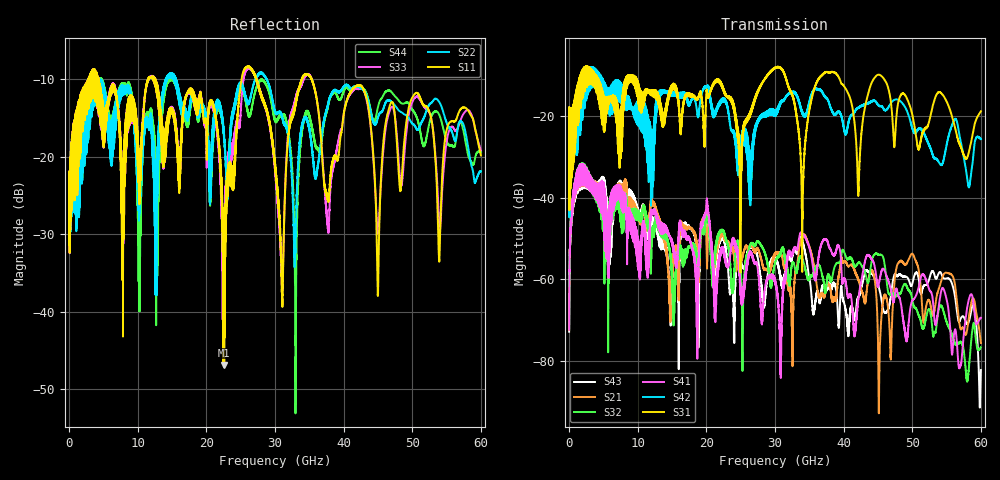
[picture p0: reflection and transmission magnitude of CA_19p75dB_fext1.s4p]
!4 port subset of full cascaded channels using these ports:1 37 2 38
# Hz S RI R 50
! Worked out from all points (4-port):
!   6000 points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, 10 MHz to 60 GHz, reference 50 ohm
!   strongest paths, dB at 10 MHz, 15.01 GHz, 30.01 GHz, 45.01 GHz, 60 GHz:
!     S31: -21.8, -12.6, -8.2, -10.0, -18.9
!     S42: -21.9, -14.4, -18.7, -17.3, -25.7
!     S41: -72.3, -51.4, -60.7, -61.8, -69.4
!     S32: -72.2, -60.7, -55.9, -54.0, -76.6
!     S21: -72.3, -60.0, -53.8, -74.9, -75.5
!     S43: -72.8, -60.9, -54.8, -61.0, -82.1
!   lowest |S11| = -46.9 dB at 22.61 GHz (marker M1), VSWR 1.01, Z = 49.7 + j0.289 ohm
!   |S11| at or under -10 dB: 4.291 GHz to 11.5 GHz (7.209 GHz wide, 91.3 % of centre); 12.57 GHz to 25.13 GHz (12.56 GHz wide, 66.6 % of centre); 35.33 GHz to end of sweep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
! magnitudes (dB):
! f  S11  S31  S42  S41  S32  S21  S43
! 10 MHz  -23.9  -21.8  -21.9  -72.3  -72.2  -72.3  -72.8
! 1.87 GHz  -15.2  -14.6  -16.1  -37.0  -36.8  -37.2  -38.0
! 22.61 GHz  -46.9  -14.0  -16.3  -53.5  -48.5  -49.7  -50.7
! 25.95 GHz  -8.4  -20.7  -29.9  -56.5  -53.7  -52.3  -53.9
! 31.02 GHz  -37.6  -8.8  -16.6  -67.2  -52.4  -54.4  -60.5
! 34 GHz  -9.9  -44.6  -19.0  -48.8  -55.1  -49.6  -50.4
! 60 GHz  -19.9  -18.9  -25.7  -69.4  -76.6  -75.5  -82.1
